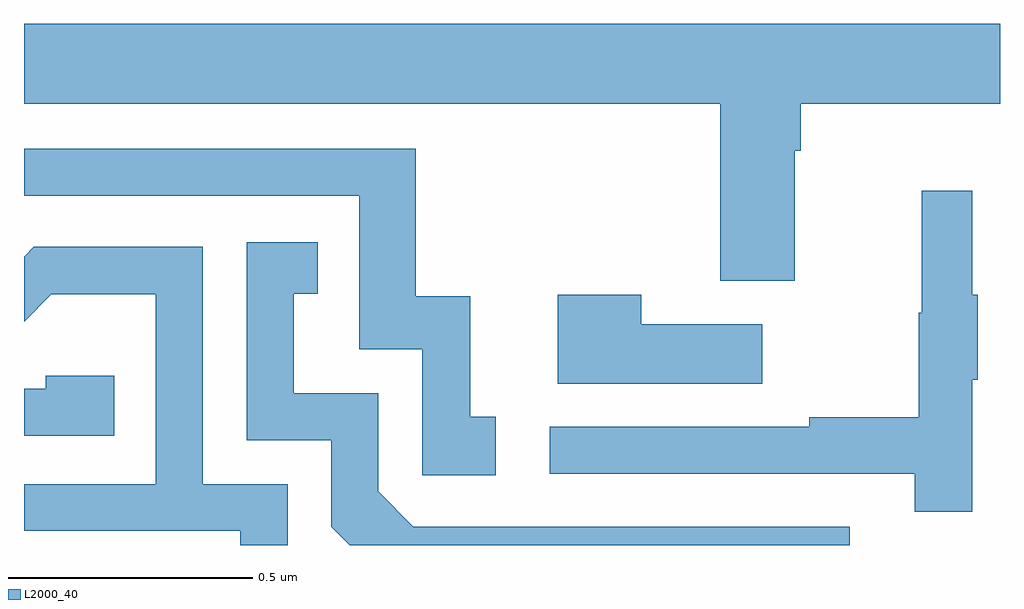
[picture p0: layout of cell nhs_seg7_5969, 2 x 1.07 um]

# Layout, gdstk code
import gdstk
lib = gdstk.Library(unit=1e-6, precision=1e-09)
def P(c, l, *ps):  # polygons
    for p in ps: c.add(gdstk.Polygon(p, *l))
L2000_40 = (2000, 40)

nhs_seg7_5969 = lib.new_cell('nhs_seg7_5969')
P(nhs_seg7_5969, L2000_40, [(193.579,1045.808),(193.592,1045.808),(193.592,1045.904),(194,1045.904),(194,1046.068),(192,1046.068),(192,1045.904),(193.427,1045.904),(193.427,1045.542),(193.579,1045.542)],
  [(192.967,1045.263),(192.914,1045.263),(192.914,1045.51),(192.803,1045.51),(192.803,1045.812),(192,1045.812),(192,1045.716),(192.687,1045.716),(192.687,1045.401),(192.816,1045.401),(192.816,1045.143),(192.967,1045.143)],
  [(193.943,1045.339),(193.954,1045.339),(193.954,1045.513),(193.943,1045.513),(193.943,1045.726),(193.84,1045.726),(193.84,1045.476),(193.833,1045.476),(193.833,1045.262),(193.609,1045.262),(193.609,1045.242),(193.077,1045.242),(193.077,1045.146),(193.825,1045.146),(193.825,1045.068),(193.943,1045.068)],
  [(193.692,1045.038),(192.798,1045.038),(192.726,1045.11),(192.726,1045.311),(192.553,1045.311),(192.553,1045.515),(192.602,1045.515),(192.602,1045.621),(192.456,1045.621),(192.456,1045.215),(192.63,1045.215),(192.63,1045.038),(192.668,1045),(193.692,1045)],
  [(192.54,1045.125),(192.366,1045.125),(192.366,1045.611),(192.02,1045.611),(192,1045.591),(192,1045.458),(192.056,1045.514),(192.27,1045.514),(192.27,1045.125),(192,1045.125),(192,1045.029),(192.443,1045.029),(192.443,1045),(192.54,1045)],
  [(193.513,1045.453),(193.265,1045.453),(193.265,1045.513),(193.094,1045.513),(193.094,1045.331),(193.513,1045.331)],
  [(192.185,1045.347),(192.045,1045.347),(192.045,1045.32),(192,1045.32),(192,1045.224),(192.185,1045.224)])

lib.write_gds('nhs_seg7_5969.gds')
